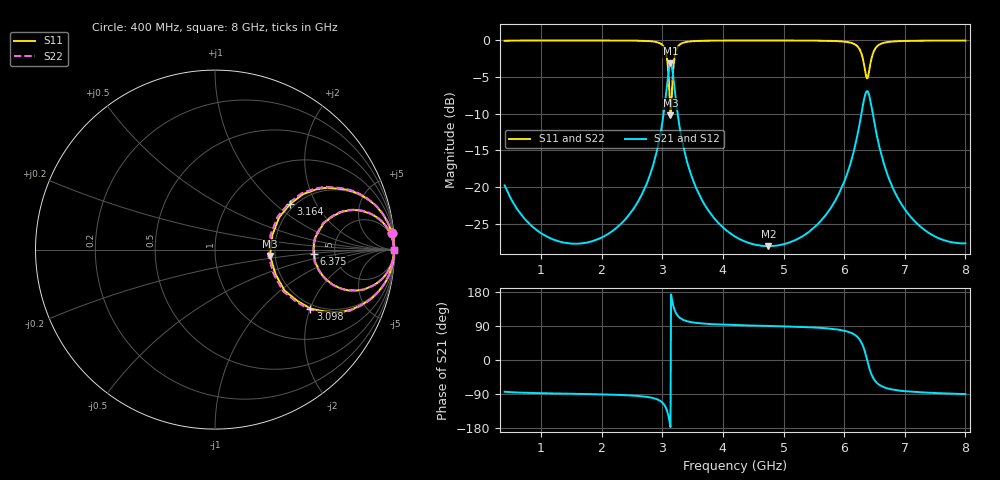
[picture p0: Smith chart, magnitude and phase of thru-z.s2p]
!Nueva Lista de parametros Z
# Hz Z RI R 50
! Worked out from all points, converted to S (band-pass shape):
!   801 points, 400 MHz to 8 GHz, reference 50 ohm
!   highest |S21| = -3.13 dB at 3.136 GHz (marker M1); lowest = -28.1 dB at 4.751 GHz (marker M2)
!   |S21| within 3 dB of the highest: 3.08 GHz to 3.197 GHz (116.8 MHz wide, 3.72 % of centre)
!   lowest |S11| = -10.2 dB at 3.136 GHz (marker M3), VSWR 1.89, Z = 93.9 - j7.43 ohm
!   |S11| at or under -10 dB: 3.134647 GHz to 3.13947 GHz (4.823 MHz wide, 0.154 % of centre)
!   |S22| runs from -10.5 to 0.0 dB; largest |S21 - S12| = 0.0019
!   S11 on the Smith chart (normalised r, x): 400 MHz: 1, +21; 3.098 GHz: 1.86, -2.00; 3.164 GHz: 1.89, +1.27; 6.375 GHz: 3.44, -0.22; 8 GHz: open
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4e8  0.5281 -114.8  0.3813 -124.8  0.4085 -124.9  0.5444 -114.7
9.51e8  0.4632 -34.48  -0.0967 -59.88  -0.09 -59.96  0.4762 -34.66
1.673e9  0.9933 5.037  -0.7117 -48.94  -0.7084 -48.99  0.9848 4.748
2.471e9  4.049 59.37  -3.751 -75.98  -3.686 -76.12  4.024 58.72
2.9365e9  32.3 197.9  -31.78 -201.6  -31.71 -201.8  31.97 195.6
3.0315e9  82.3 316.6  -81.3 -316.8  -81.1 -317.4  80.92 312.4
3.098e9  238.7 503.2  -236.8 -500.3  -236.7 -501.3  235.6 496.5
3.136e9  574.2 648.5  -569.9 -643.5  -569.8 -645.1  566.4 640
3.1645e9  1116 441  -1107 -435.9  -1109 -438.7  1100 434.9
3.2405e9  380.5 -587.4  -376.8 585.4  -377.9 585.9  375 -578.9
3.345e9  67.08 -285.8  -65.84 288.4  -66.42 288.8  66.16 -281.3
3.6775e9  8.334 -92.01  -7.547 104.4  -7.685 104.5  8.134 -89.89
4.2e9  2.543 -31.05  -1.489 58.92  -1.61 59.02  2.468 -29.57
4.751e9  1.898 -0.2761  -0.0431 50.51  -0.1321 50.61  1.871 0.8771
5.473e9  3.941 44.69  2.725 68.37  2.538 68.49  3.836 45.61
6.1475e9  109.4 319.9  108.2 324.9  107.5 326  108.7 319.8
6.2995e9  943.2 -304  938.9 -301.3  941.3 -299.3  939.5 -300.5
6.3755e9  223 -424.6  220.8 -423  222.5 -423.1  222.7 -421.7
6.4705e9  64.93 -247.5  63.26 -248.3  63.99 -248.7  64.79 -245.2
6.7365e9  12.5 -102.9  10.97 -110.8  11.34 -111  12.56 -101.4
7.2685e9  3.621 -35.74  1.723 -58.29  1.903 -58.37  3.671 -34.3
8e9  2.865 2.885  -0.731 -48.42  -0.5729 -48.51  2.966 4.854
